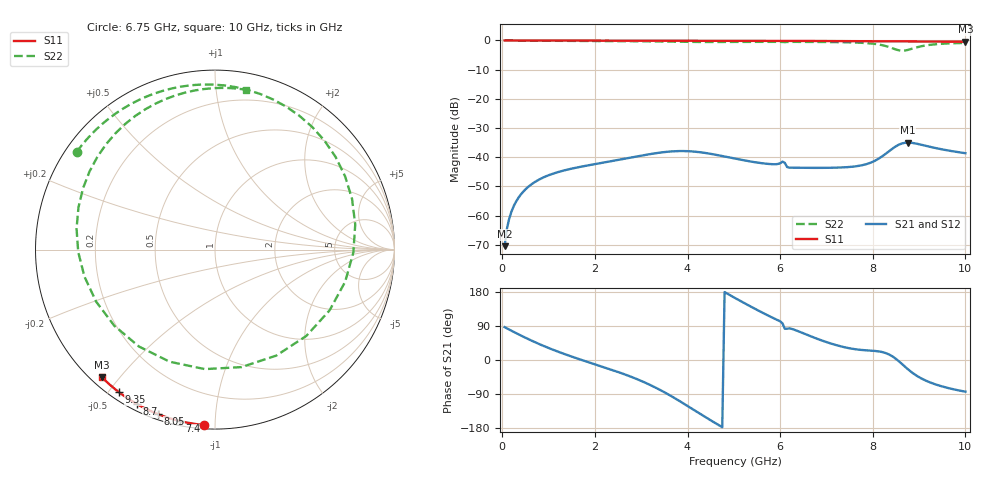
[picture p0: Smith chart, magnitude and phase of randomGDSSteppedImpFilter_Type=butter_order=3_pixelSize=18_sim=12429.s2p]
! freq	dB(S11)	phase(S11)	dB(S12)	phase(S12)
!  dB(S21)	phase(S21)	dB(S22)	phase(S22)
!S-par simulation data
#  GHz  S  DB  R 50
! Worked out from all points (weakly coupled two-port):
!   200 points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, 50 MHz to 10 GHz, reference 50 ohm
!   highest |S21| = -35.00 dB at 8.75 GHz (marker M1); lowest = -70.5 dB at 50 MHz (marker M2)
!   lowest |S11| = -0.4 dB at 10 GHz (marker M3), VSWR 39.10, Z = 1.54 - j22.5 ohm
!   |S11| at or under -10 dB: nowhere
!   |S22| runs from -3.5 to 0.0 dB; largest |S21 - S12| = 0
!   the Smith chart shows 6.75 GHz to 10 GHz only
!   S11 on the Smith chart (normalised r, x): 6.75 GHz: 0.02, -0.94; 7.4 GHz: 0.02, -0.82; 8.05 GHz: 0.02, -0.71; 8.7 GHz: 0.03, -0.62; 9.35 GHz: 0.03, -0.53; 10 GHz: 0.03, -0.45
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0.05  -0.00 -0.8  -70.49 86.7  -70.49 86.7  -0.00 -5.7
0.25  -0.01 -3.8  -56.66 73.9  -56.66 73.9  -0.04 -28.2
0.8  -0.02 -12.1  -47.62 41.9  -47.62 41.9  -0.10 -84.7
1.75  -0.03 -26.2  -43.10 -1.3  -43.10 -1.3  -0.15 -160.9
2.55  -0.05 -37.8  -40.80 -33.8  -40.80 -33.8  -0.21 140.9
3  -0.06 -44.3  -39.47 -55.2  -39.47 -55.2  -0.28 103.0
3.4  -0.07 -49.9  -38.44 -78.5  -38.44 -78.5  -0.37 62.8
4.05  -0.08 -58.9  -37.97 -125.1  -37.97 -125.1  -0.52 -14.1
4.55  -0.10 -65.6  -38.99 -162.8  -38.99 -162.8  -0.53 -70.3
5.05  -0.11 -72.2  -40.56 162.0  -40.56 162.0  -0.50 -115.0
5.8  -0.14 -81.9  -42.37 113.7  -42.37 113.7  -0.47 -164.8
6.7  -0.18 -93.1  -43.66 60.6  -43.66 60.6  -0.50 147.4
6.75  -0.18 -93.7  -43.67 58.3  -43.67 58.3  -0.51 144.8
7.4  -0.22 -101.5  -43.46 33.4  -43.46 33.4  -0.62 108.1
8.05  -0.26 -109.2  -41.19 23.9  -41.19 23.9  -1.19 51.7
8.35  -0.29 -112.7  -37.96 14.6  -37.96 14.6  -2.26 -1.2
8.55  -0.30 -115.0  -35.82 -1.9  -35.82 -1.9  -3.32 -60.0
8.7  -0.32 -116.7  -35.06 -18.2  -35.06 -18.2  -3.43 -112.0
8.75  -0.32 -117.3  -35.00 -23.5  -35.00 -23.5  -3.27 -128.1
9  -0.34 -120.1  -35.55 -45.4  -35.55 -45.4  -2.16 171.4
9.35  -0.38 -124.1  -36.85 -64.2  -36.85 -64.2  -1.30 125.4
10  -0.44 -131.4  -38.64 -83.5  -38.64 -83.5  -0.85 79.1
